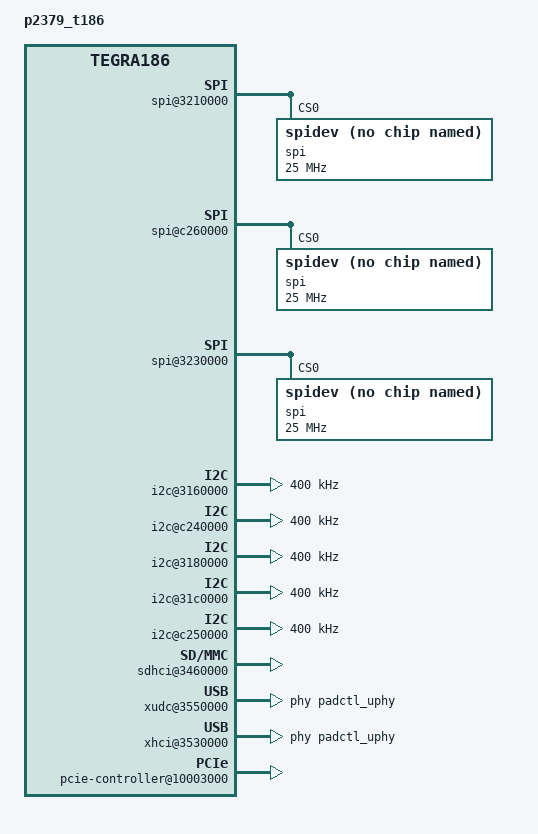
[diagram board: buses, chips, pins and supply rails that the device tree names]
/*
 * tegra186-vcm31-p2379-common.dtsi: VCM3.1 based P2379(DPX2)
 * common dtsi.
 *
 * Copyright (c) 2016, NVIDIA CORPORATION.  All rights reserved.
 *
 * This program is free software; you can redistribute it and/or modify
 * it under the terms of the GNU General Public License as published by
 * the Free Software Foundation; version 2 of the License.
 *
 * This program is distributed in the hope that it will be useful, but WITHOUT
 * ANY WARRANTY; without even the implied warranty of MERCHANTABILITY or
 * FITNESS FOR A PARTICULAR PURPOSE.  See the GNU General Public License for
 * more details.
 */

#include <dt-bindings/types.h>
#include <dt-bindings/input/atmel_mxt_ts.h>
/dts-v1/;

/memreserve/ 0x80000000 0x00010000;

#include "tegra186-platforms/tegra186-vcm31.dtsi"
#include "tegra186-platforms/tegra186-vcm31-power-tree-p2379-0000-c00-00.dtsi"

/ {
        model = "p2379_t186";
        compatible = "nvidia,p2379_t186", "nvidia,tegra186";

        nvidia,dtbbuildtime = __DATE__, __TIME__;
        #address-cells = <2>;
        #size-cells = <2>;

	pmc@c360000 {
		io-pad-defaults {
			sdmmc1-hv {
				nvidia,enable-dynamic-pad-voltage;
			};

			sdmmc3-hv {
				nvidia,enable-dynamic-pad-voltage;
			};
		};
	};

	serial@3100000 { /* Tegra UARTA */
		status = "disabled";
	};

	spi@3210000 { /* Tegra SPI1 <-> VCM SPIB: Inter Tegra Master */
		status = "okay";
		spi@0 {
			compatible = "spidev";
			reg = <0>;
			spi-max-frequency = <25000000>;
		};
	};

	spi@c260000 { /* Tegra SPI2 <-> VCM SPIA: Aurix slave */
		compatible = "nvidia,tegra186-spi-slave";
		status = "okay";
		spi@0 {
			compatible = "spidev";
			reg = <0>;
			spi-max-frequency = <25000000>;
		};
	};

	spi@3230000 { /* Tegra SPI3 <-> VCM SPID: Inter Tegra slave*/
		status = "okay";
		compatible = "nvidia,tegra186-spi-slave";
		spi@0 {
			compatible = "spidev";
			reg = <0>;
			spi-max-frequency = <25000000>;
		};
	};

	i2c@3160000 { /* Tegra I2C1 - VCM I2CA: Temp sensor */
		clock-frequency = <400000>;
		status = "okay";
	};

	i2c@c240000 { /* Tegra I2C2 <-> VCM I2CB: CSI E-F */
		clock-frequency = <400000>;
		status = "okay";
	};

	i2c@3180000 { /* Tegra I2C3 - VCM I2CD: CSI C-D */
		clock-frequency = <400000>;
		status = "okay";
	};

	i2c@31c0000 { /* Tegra I2C7 - MID DPX2 I2CE: DSI to LVDS*/
		clock-frequency = <400000>;
		status = "okay";
	};

	i2c@c250000 { /* Tegra I2C8 <-> VCM I2CC: CSI A-B */
		clock-frequency = <400000>;
		status = "okay";
	};

        sdhci@3460000 { /* SDMMC_D: Used for eMMc */
                        status = "okay";
                        uhs-mask = <0x40>;   /*HS400 is not supported*/
        };

	padctl_uphy: pinctrl@3520000 {
		status = "okay";
		pinctrl-0 = <&p2379_uphy_default>;
		pinctrl-names = "default";
		p2379_uphy_default: pinmux {
			usb2-ftdi-hub-port1 {
				nvidia,lanes = "otg-0";
				nvidia,function = "xusb";
				nvidia,port-cap = <TEGRA_PADCTL_PORT_OTG_CAP>;
			};
			usb2-std-A-port1 {
				nvidia,lanes = "otg-2";
				nvidia,function = "xusb";
				nvidia,port-cap = <TEGRA_PADCTL_PORT_HOST_ONLY>;
			};
			usb3-std-A-port1 {
				nvidia,lanes = "uphy-lane-0";
				nvidia,function = "usb3";
				nvidia,usb3-port = <0>;
				nvidia,port-cap = <TEGRA_PADCTL_PORT_HOST_ONLY>;
			};
			pcie {
				nvidia,lanes = "uphy-lane-1", "uphy-lane-2", "uphy-lane-3", "uphy-lane-4";
				nvidia,function = "pcie";
				nvidia,pcie-controller = <0>;
			};
		};
	};

	external-connection {
		/* P2379 doesn't have ID/VBUS detection */
		id_gpio_extcon: extcon@0 {
			status="okay";
			compatible = "extcon-gpio";
			extcon-gpio,name = "USB-ID";
			extcon-gpio,cable-name = "USB-Host";
			#extcon-cells = <1>;
		};
		vbus_gpio_extcon: extcon@1 {
			status="okay";
			compatible = "extcon-gpio";
			extcon-gpio,name = "USB-VBUS";
			extcon-gpio,default-connected;
			extcon-gpio,cable-name = "USB";
			#extcon-cells = <1>;
		};
	};

	mailbox@3538000 {
		status = "okay";
	};

	xudc@3550000 {
		status = "okay";
		extcon-cables = <&vbus_gpio_extcon 0>;
		extcon-cable-names = "vbus";
		#extcon-cells = <1>;
		phys = <&padctl_uphy TEGRA_PADCTL_UPHY_UTMI_P(0)>;
		phy-names = "usb2";
	};

	xhci@3530000 {
		status = "okay";
		extcon-cables = <&id_gpio_extcon 0>;
		extcon-cable-names = "id";
		#extcon-cells = <1>;
		phys = <&padctl_uphy TEGRA_PADCTL_UPHY_UTMI_P(2)>,
			<&padctl_uphy TEGRA_PADCTL_UPHY_USB3_P(0)>;
		phy-names = "utmi-2", "usb3-0";
	};

	pcie-controller@10003000 {
		/*
		 * Even though the board is using PCIe root ports in  4_0_0
		 * configuration, we have to provide 4_0_1 to the driver.
		 * as driver only support following configs
		 * 1. X4_X0_X1
		 * 2. X2_X1_X1
		 * 3. X1_X1_X1
		 */
		nvidia,lane-map = <0x401>;
		status = "okay";
		pci@1,0 {
			status = "okay";
			nvidia,num-lanes = <0x4>;
		};

		pci@2,0 {
			status = "disabled";
		};
	};

	ahub {
		status = "disabled";
	};

	adma@2930000{
		status = "disabled";
	};

        adsp_audio {
		status = "disabled";
        };

	spdif-dit.0@0 {
		status = "disabled";
        };

	spdif-dit.1@1 {
		status = "disabled";
        };

	spdif-dit.2@2 {
		status = "disabled";
        };

	spdif-dit.3@3 {
		status = "disabled";
        };

	/* FIXME: not implement yet */
	isc-mgr.0 {
		status = "disabled";
	};

	/* FIXME: not implement yet */
	isc-mgr.1 {
		status = "disabled";
	};

	/* FIXME: not implement yet */
	isc-mgr.2 {
		status = "disabled";
	};

	sdhci@3400000 {
		status = "disabled";
	};

	sdhci@3440000 {
		status = "disabled";
	};

        ptm_a57_0: ptm@9840000 {
                status = "okay";
        };

        ptm_a57_1: ptm@9940000 {
                status = "okay";
        };

        ptm_a57_2: ptm@9a40000 {
                status = "okay";
        };

        ptm_a57_3: ptm@9b40000 {
                status = "okay";
        };

        funnel_bccplex@9010000 {
                status = "okay";
        };

        funnel_major@8010000 {
                status = "okay";
        };

        replicator@0x8040000 {
                status = "okay";
        };

        etf@8030000 {
                status = "okay";
        };

        tpiu@8060000 {
                status = "okay";
        };

	pmc-iopower {
		status = "disabled";
	};

	host1x {
		status = "disabled";
		ctx0 {
			status = "disabled";
		};

		ctx1 {
			status = "disabled";
		};

		ctx2 {
			status = "disabled";
		};

		ctx3 {
			status = "disabled";
		};

		ctx4 {
			status = "disabled";
		};

		ctx5 {
			status = "disabled";
		};

		ctx6 {
			status = "disabled";
		};

		ctx7 {
			status = "disabled";
		};

		nvcsi@150c0000 {
			status = "disabled";
		};

		vi@15700000 {
			status = "disabled";
		};

		isp@15600000 {
			status = "disabled";
		};

		vii2c@156c0000 {
			status = "disabled";
		};


		dsi {	/* dsi@15300000 */
			status = "disabled";
		};

		vic@15340000 {
			status = "disabled";
		};

		nvenc@154c0000 {
			status = "disabled";
		};

		nvdec@15480000 {
			status = "disabled";
		};

		nvjpg@15380000 {
			status = "disabled";
		};

		tsec@15500000 {
			status = "disabled";
		};

		tsecb@15100000 {
			status = "disabled";
		};

		se@15810000 {
			status = "disabled";
		};

		se@15820000 {
			status = "disabled";
		};

		se@15830000 {
			status = "disabled";
		};

		se@15840000 {
			status = "disabled";
		};
	};

	bpmp {
		bpmpthermal {
			status = "disabled";
		};
	};

	cpus {
		status = "disabled";

	};

	soft_wdt:soft_watchdog {
		compatible = "softdog-platform";
		status = "okay";
	};
};

